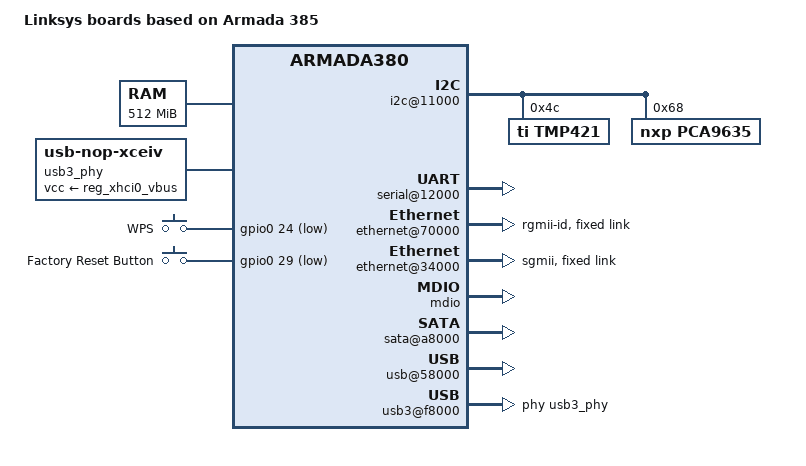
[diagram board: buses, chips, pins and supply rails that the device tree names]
/*
 * Device Tree include file for Armada 385 based Linksys boards
 *
 * Copyright (C) 2015 Imre Kaloz <kaloz@openwrt.org>
 *
 *
 * This file is dual-licensed: you can use it either under the terms
 * of the GPL or the X11 license, at your option. Note that this dual
 * licensing only applies to this file, and not this project as a
 * whole.
 *
 *  a) This file is licensed under the terms of the GNU General Public
 *     License version 2.  This program is licensed "as is" without
 *     any warranty of any kind, whether express or implied.
 *
 * Or, alternatively,
 *
 *  b) Permission is hereby granted, free of charge, to any person
 *     obtaining a copy of this software and associated documentation
 *     files (the "Software"), to deal in the Software without
 *     restriction, including without limitation the rights to use,
 *     copy, modify, merge, publish, distribute, sublicense, and/or
 *     sell copies of the Software, and to permit persons to whom the
 *     Software is furnished to do so, subject to the following
 *     conditions:
 *
 *     The above copyright notice and this permission notice shall be
 *     included in all copies or substantial portions of the Software.
 *
 *     THE SOFTWARE IS PROVIDED "AS IS", WITHOUT WARRANTY OF ANY KIND,
 *     EXPRESS OR IMPLIED, INCLUDING BUT NOT LIMITED TO THE WARRANTIES
 *     OF MERCHANTABILITY, FITNESS FOR A PARTICULAR PURPOSE AND
 *     NONINFRINGEMENT. IN NO EVENT SHALL THE AUTHORS OR COPYRIGHT
 *     HOLDERS BE LIABLE FOR ANY CLAIM, DAMAGES OR OTHER LIABILITY,
 *     WHETHER IN AN ACTION OF CONTRACT, TORT OR OTHERWISE, ARISING
 *     FROM, OUT OF OR IN CONNECTION WITH THE SOFTWARE OR THE USE OR
 *     OTHER DEALINGS IN THE SOFTWARE.
 */

#include <dt-bindings/gpio/gpio.h>
#include <dt-bindings/input/input.h>
#include "armada-385.dtsi"

/ {
	model = "Linksys boards based on Armada 385";
	compatible = "linksys,armada385", "marvell,armada385",
		     "marvell,armada380";

	chosen {
		stdout-path = "serial0:115200n8";
	};

	memory {
		device_type = "memory";
		reg = <0x00000000 0x20000000>; /* 512 MB */
	};

	soc {
	
		ranges = <MBUS_ID(0xf0, 0x01) 0 0xf1000000 0x100000
			  MBUS_ID(0x01, 0x1d) 0 0xfff00000 0x100000
			  MBUS_ID(0x09, 0x19) 0 0xf1100000 0x10000
			  MBUS_ID(0x09, 0x15) 0 0xf1110000 0x10000
			  MBUS_ID(0x0c, 0x04) 0 0xf1200000 0x100000>;
	
		internal-regs {
			i2c@11000 {
				pinctrl-names = "default";
				pinctrl-0 = <&i2c0_pins>;
				status = "okay";

				tmp421@4c {
					compatible = "ti,tmp421";
					reg = <0x4c>;
				};

				pca9635@68 {
					#address-cells = <1>;
					#size-cells = <0>;
					compatible = "nxp,pca9635";
					reg = <0x68>;
				};
			};

			/* J10: VCC, NC, RX, NC, TX, GND  */
			serial@12000 {
				status = "okay";
			};

			ethernet@70000 {
				status = "okay";
				phy-mode = "rgmii-id";
				buffer-manager = <&bm>;
				bm,pool-long = <0>;
				bm,pool-short = <3>;
				fixed-link {
					speed = <1000>;
					full-duplex;
				};
			};

			ethernet@34000 {
				status = "okay";
				phy-mode = "sgmii";
				buffer-manager = <&bm>;
				bm,pool-long = <2>;
				bm,pool-short = <3>;
				fixed-link {
					speed = <1000>;
					full-duplex;
				};
			};

			mdio {
				status = "okay";
			};

			sata@a8000 {
				status = "okay";
			};
			
			bm@c8000 {
				status = "okay";
			};

			/* USB part of the eSATA/USB 2.0 port */
			usb@58000 {
				status = "okay";
			};

			usb3@f8000 {
				status = "okay";
				usb-phy = <&usb3_phy>;
			};

		};
		
		bm-bppi {
			status = "okay";
		};

	};

	usb3_phy: usb3_phy {
		compatible = "usb-nop-xceiv";
		vcc-supply = <&reg_xhci0_vbus>;
	};

	gpio_keys {
		compatible = "gpio-keys";
		#address-cells = <1>;
		#size-cells = <0>;
		pinctrl-0 = <&keys_pin>;
		pinctrl-names = "default";

		button@1 {
			label = "WPS";
			linux,code = <KEY_WPS_BUTTON>;
			gpios = <&gpio0 24 GPIO_ACTIVE_LOW>;
		};

		button@2 {
			label = "Factory Reset Button";
			linux,code = <KEY_RESTART>;
			gpios = <&gpio0 29 GPIO_ACTIVE_LOW>;
		};
	};

	dsa@0 {
		compatible = "marvell,dsa";
		#address-cells = <2>;
		#size-cells = <0>;

		dsa,ethernet = <&eth2>;
		dsa,mii-bus = <&mdio>;

		switch@0 {
			#address-cells = <1>;
			#size-cells = <0>;
			reg = <0x0 0>;	/* MDIO address 0, switch 0 in tree */

			port@0 {
				reg = <0>;
				label = "lan4";
			};

			port@1 {
				reg = <1>;
				label = "lan3";
			};

			port@2 {
				reg = <2>;
				label = "lan2";
			};

			port@3 {
				reg = <3>;
				label = "lan1";
			};

			port@4 {
				reg = <4>;
				label = "wan";
			};

			port@5 {
				reg = <5>;
				label = "cpu";
			};
		};
	};
};

&pinctrl {
	keys_pin: keys-pin {
		marvell,pins = "mpp24", "mpp29";
		marvell,function = "gpio";
	};
};

&spi0 {
	status = "disabled";
};
